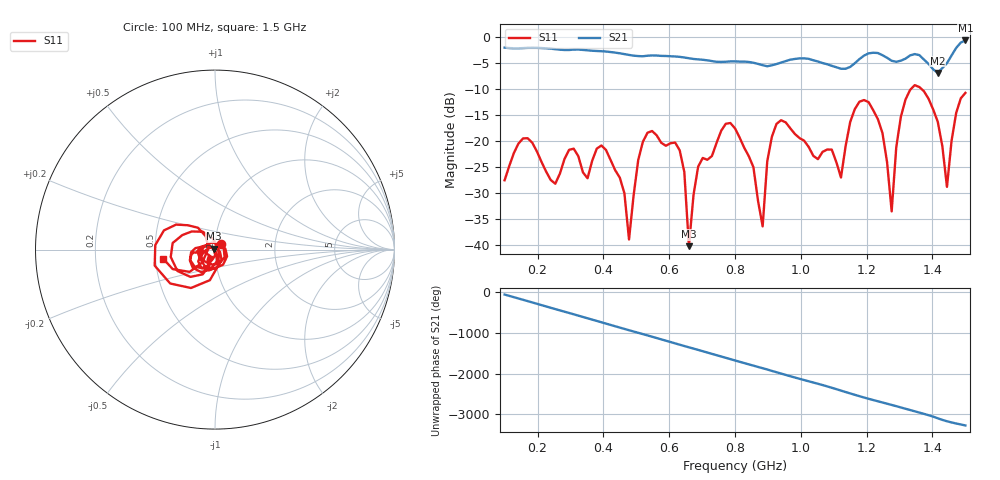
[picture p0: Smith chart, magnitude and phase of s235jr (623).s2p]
! NanoVNA-App
! Date: 2025-09-25 15:09:01
! Start: 100MHz Stop: 1,5GHz Points: 101
! S-Parameter data: F S11 S21 S12 S22
# Hz S RI R 50
!  Frequency  S11_Real  S11_Imag  S21_Real  S21_Imag  S12_Real  S12_Imag  S22_Real  S22_Imag
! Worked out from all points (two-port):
!   101 points, 100 MHz to 1.5 GHz, reference 50 ohm
!   highest |S21| = -0.58 dB at 1.5 GHz (marker M1); lowest = -6.8 dB at 1.416 GHz (marker M2)
!   |S21| within 3 dB of the highest: start of sweep to 505.4 MHz; 525.1 MHz to 593.8 MHz (68.72 MHz wide, 12.3 % of centre) (the widest 2 of 5)
!   lowest |S11| = -40.1 dB at 660 MHz (marker M3), VSWR 1.02, Z = 49.2 + j0.558 ohm
!   |S11| at or under -10 dB: start of sweep to 1.333 GHz; 1.368 GHz to end of sweep
!   S12 and S22 are empty: the file has one direction only
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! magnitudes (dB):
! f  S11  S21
! 100 MHz  -27.5  -2.0
! 156 MHz  -19.4  -2.0
! 338 MHz  -26.0  -2.4
! 408 MHz  -21.6  -2.7
! 478 MHz  -38.9  -3.4
! 520 MHz  -20.1  -3.6
! 576 MHz  -20.3  -3.5
! 632 MHz  -21.7  -3.7
! 660 MHz  -40.1  -4.0
! 688 MHz  -24.9  -4.2
! 800 MHz  -17.5  -4.6
! 884 MHz  -36.3  -5.3
! 926 MHz  -16.6  -5.1
! 1.038 GHz  -22.8  -4.4
! 1.122 GHz  -26.9  -6.0
! 1.206 GHz  -12.4  -3.1
! 1.248 GHz  -18.4  -3.4
! 1.276 GHz  -33.5  -4.5
! 1.332 GHz  -10.1  -3.5
! 1.416 GHz  -16.2  -6.8
! 1.444 GHz  -28.7  -5.0
! 1.5 GHz  -10.7  -0.6
